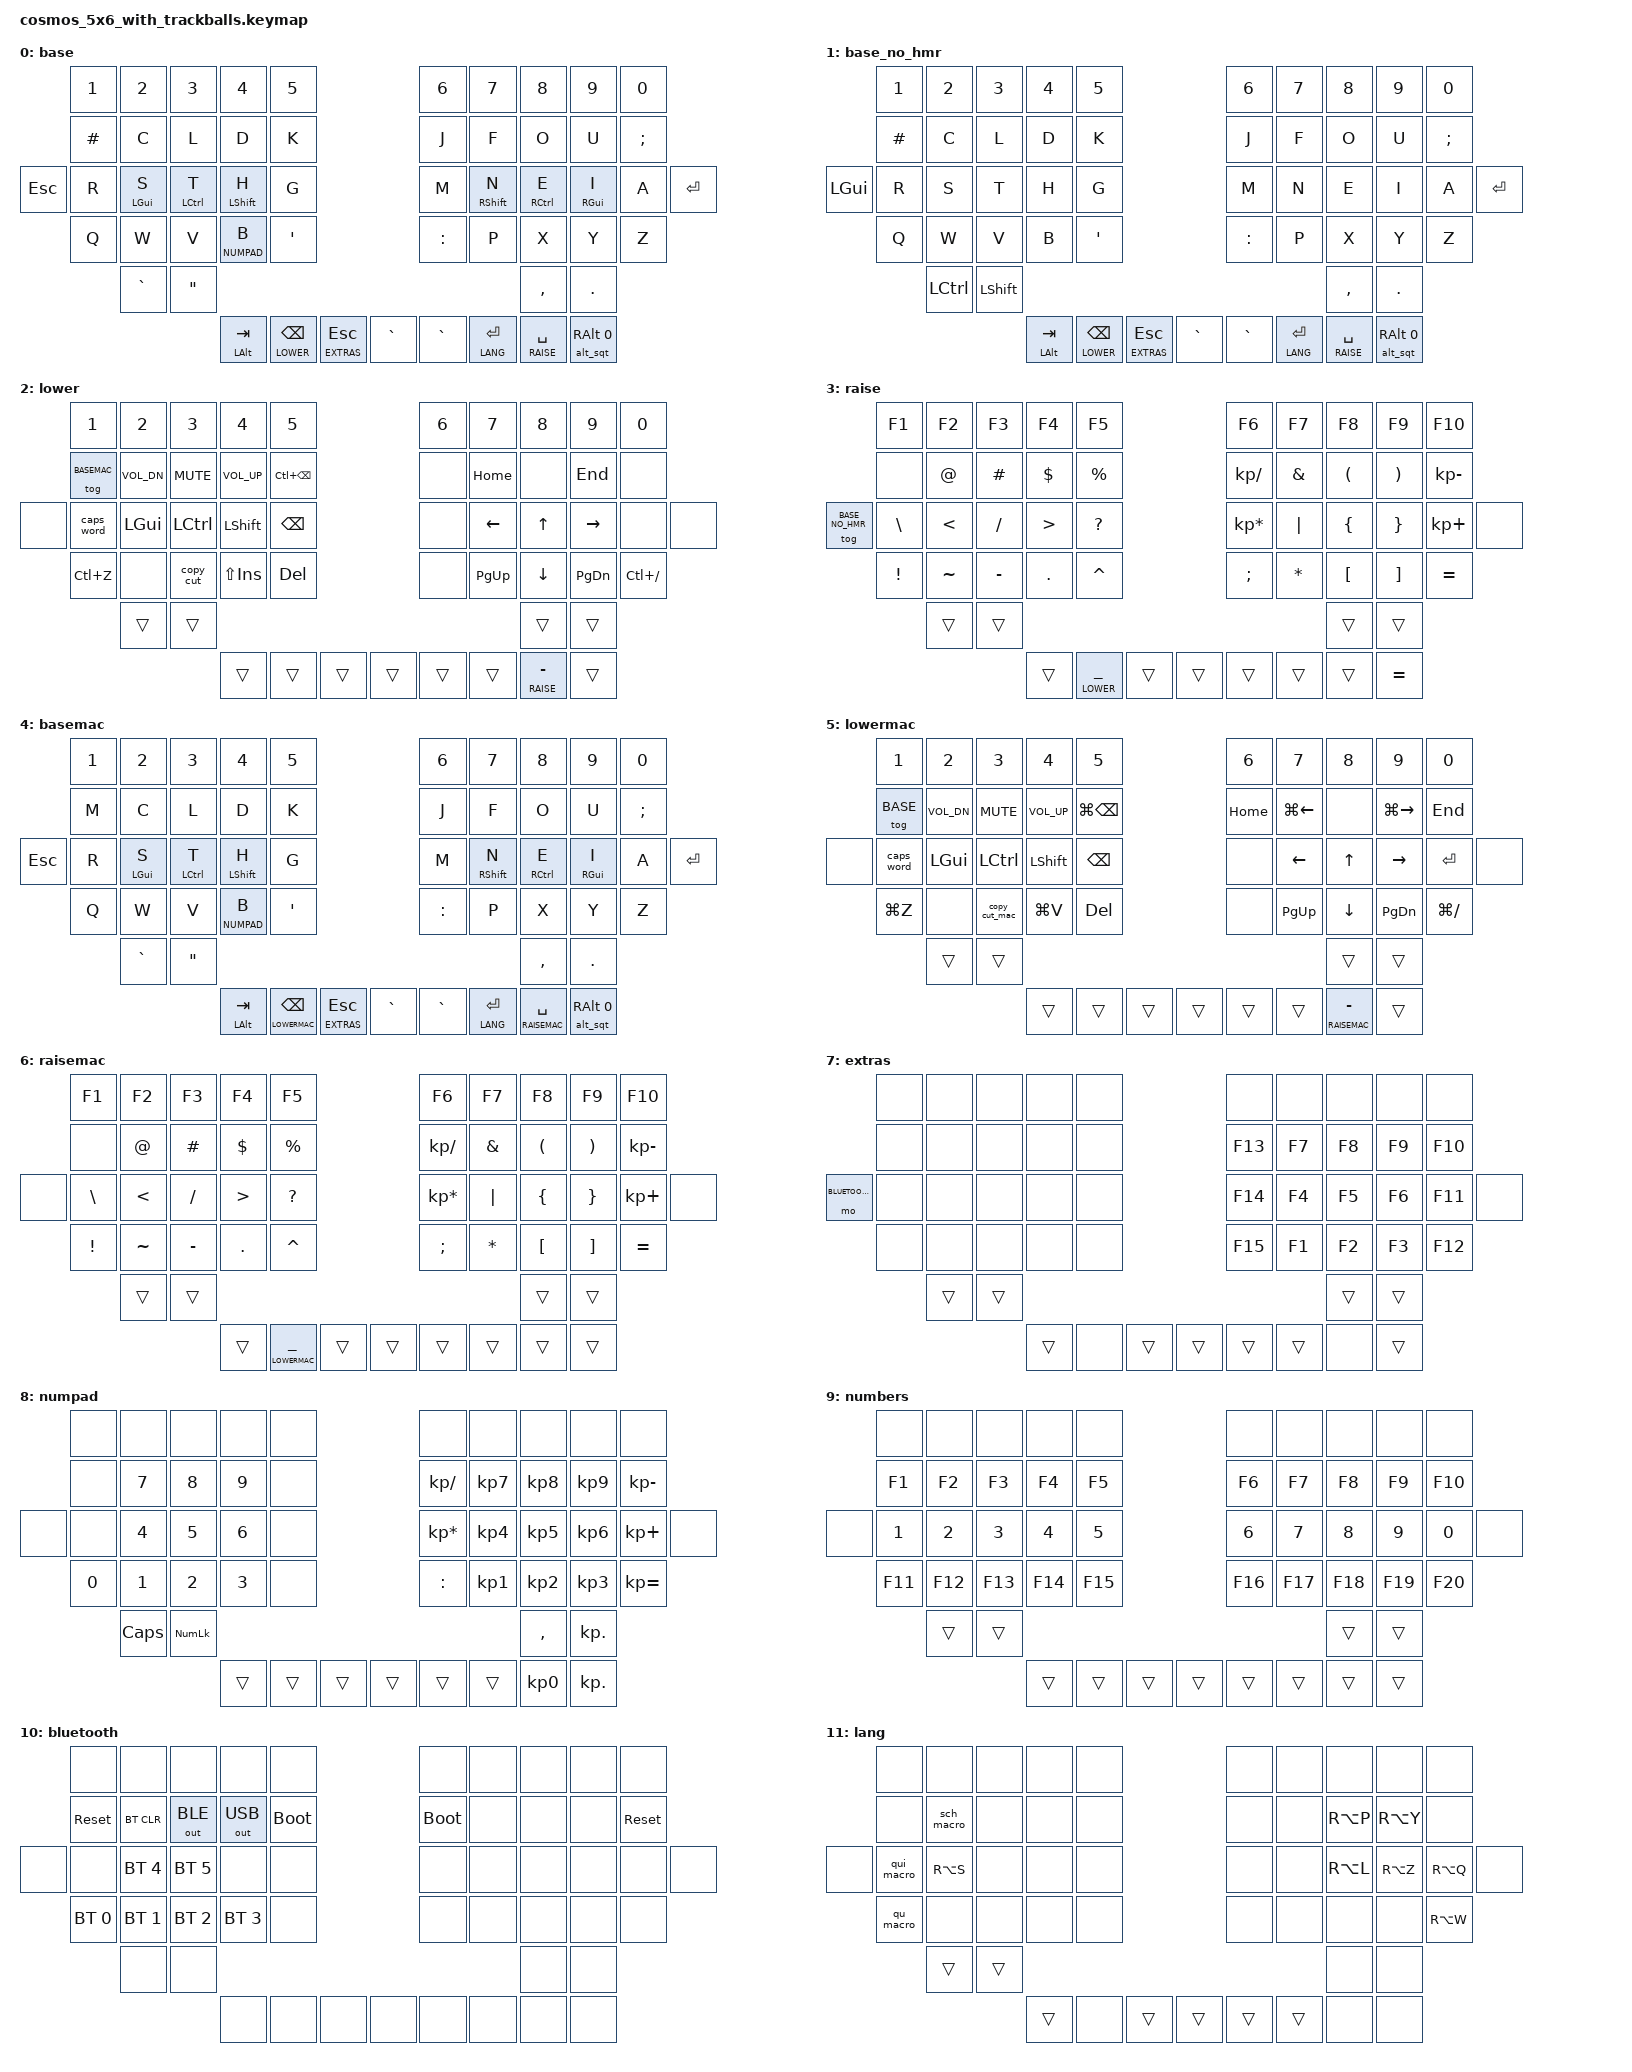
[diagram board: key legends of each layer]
#include <behaviors.dtsi>
#include <dt-bindings/zmk/keys.h>
#include <dt-bindings/zmk/bt.h>
#include <dt-bindings/zmk/outputs.h>
#include "zmk-helpers/helper.h"
#include "keypos_cosmos_5x6_with_trackballs.h"

#define BASE        0
#define BASE_NO_HMR 1
#define LOWER       2
#define RAISE       3
#define BASEMAC     4
#define LOWERMAC    5
#define RAISEMAC    6
#define EXTRAS      7
#define NUMPAD      8
#define NUMBERS     9
#define BLUETOOTH  10
#define LANG       11

// left-hand keys
#define KEYS_L LN4 LN3 LN2 LN1 LN0 LT4 LT3 LT2 LT1 LT0 LM5 LM4 LM3 LM2 LM1 LM0 LB4 LB3 LB2 LB1 LB0 LQ1 LQ0
// right-hand keys
#define KEYS_R RN0 RN1 RN2 RN3 RN4 RT0 RT1 RT2 RT3 RT4 RM0 RM1 RM2 RM3 RM4 RM5 RB0 RB1 RB2 RB3 RB4 RQ1 RQ0
// left-hand thumb keys
#define THUMBS_L LH0 LH1 LH2 LH3 LH4
// right-hand thumb keys
#define THUMBS_R RH0 RH1 RH2 RH3 RH4

/ {
    conditional_layers {
        compatible = "zmk,conditional-layers";
        tri_layer {
            if-layers = <LOWER RAISE>;
            then-layer = <NUMBERS>;
        };
        tri_layer_mac {
            if-layers = <LOWERMAC RAISEMAC>;
            then-layer = <NUMBERS>;
        };
    };
};


#define XXX &none
#define ___ &trans

#undef COMBO_TERM
#define COMBO_TERM 18


// --------------------------------------------
// ------------------ COMBOS ------------------
// --------------------------------------------
// ZMK_COMBO(comboLPar, &kp LPAR, LT3 LT2, BASE BASEMAC)
// ZMK_COMBO(comboRPar, &kp RPAR, RT3 RT2, BASE BASEMAC)

// ZMK_COMBO(comboLBrc, &kp LBRC, LM3 LM2, BASE BASEMAC)
// ZMK_COMBO(comboRBrc, &kp RBRC, RM3 RM2, BASE BASEMAC)

// ZMK_COMBO(comboLBkt, &kp LBKT, LB3 LB2, BASE BASEMAC)
// ZMK_COMBO(comboRBkt, &kp RBKT, RB3 RB2, BASE BASEMAC)

// ZMK_COMBO(comboMinus, &kp MINUS, RT1 RT2, BASE BASEMAC)
// ZMK_COMBO(comboPlus, &kp PLUS, RM1 RM2, BASE BASEMAC)
// ZMK_COMBO(comboEqual, &kp EQUAL, RB1 RB2, BASE BASEMAC)

// ZMK_COMBO(comboExcl, &kp EXCL, LT2 LT1, BASE BASEMAC)
// ZMK_COMBO(comboAt, &kp AT, LM2 LM1, BASE BASEMAC)
// ZMK_COMBO(comboTab, &kp TAB, RQ0 RQ1, BASE BASEMAC)
// -----------------COMBOS--------------------


// #define HRC_TAB    &hml         LS(LALT) TAB
// ZMK_COMBO(tab,   HRC_TAB,       LT3 LT1,     BASE, COMBO_TERM)

// ZMK_COMBO(combo_the, &macro_the, LT3 LT1, 0)
// ZMK_BEHAVIOR(macro_the, macro,
//     wait-ms = <0>;
//     tap-ms = <5>;
//     bindings = <&kp T &kp H &kp E &kp SPACE>;
// )


#define MAKE_HRM(NAME, HOLD, TAP, TRIGGER_POS) \
    ZMK_BEHAVIOR(NAME, hold_tap, \
        flavor = "balanced"; \
        tapping-term-ms = <280>; \
        quick-tap-ms = <150>; \
        bindings = <HOLD>, <TAP>; \
        hold-trigger-key-positions = <TRIGGER_POS>; \
        hold-trigger-on-release; \
        hold-while-undecided; \
    )


//global-quick-tap-ms = <150>;

// left-hand HRMs
MAKE_HRM(hml, &kp, &kp, THUMBS_L THUMBS_R KEYS_R)
// right-hand HRMs
MAKE_HRM(hmr, &kp, &kp, THUMBS_L THUMBS_R KEYS_L)

&lt {
  tapping-term-ms = <280>;
  quick-tap-ms = <280>; // repeat on tap-into-hold
  flavor = "balanced";
};

&mt {
  tapping-term-ms = <280>;
  quick-tap-ms = <280>; // repeat on tap-into-hold
  flavor = "balanced";
};

// long-tap action on hold, short-tap action on all interrupts
// flavor = "tap-preferred";
// #define MT_CORE \
//     flavor = "balanced"; \
//     tapping-term-ms = <220>; \
//     quick-tap-ms = <220>; \
//     hold-trigger-key-positions = <0>;

// &mt { MT_CORE };

// ZMK_BEHAVIOR(mt_home, hold_tap, bindings = <&masked_home>, <&kp>; MT_CORE)
// ZMK_BEHAVIOR(mt_end,  hold_tap,  bindings = <&masked_end>, <&kp>; MT_CORE)

// #define NAV_LEFT  &mt_home 0   LEFT    // tap: left  | long-tap: beginning of line
// #define NAV_RIGHT &mt_end 0    RIGHT   // tap: right | long-tap: end       of line
// #define NAV_UP    &mt LC(HOME) UP      // tap: up    | long-tap: beginning of document
// #define NAV_DOWN  &mt LC(END)  DOWN    // tap: down  | long-tap: end       of document
// #define NAV_BSPC  &mt LC(BSPC) BSPC    // tap: bspc  | long-tap: delete word backward
// #define NAV_DEL   &mt LC(DEL)  DEL     // tap: del   | long-tap: delete word forward

// mask CTRL when holding left/right to avoid accidental jumps to beginning/end of document
#define MASK_MODS(NAME, MODS, BINDING) \
    ZMK_BEHAVIOR(NAME, mod_morph, \
        bindings = <BINDING>, <BINDING>; \
        mods = <MODS>; \
    )
MASK_MODS(masked_home, (MOD_LCTL), &kp HOME)
MASK_MODS(masked_end,  (MOD_LCTL), &kp END)

// grave on shift single qoute
/ {
  behaviors {
    gsqt: grave_escape {
      compatible = "zmk,behavior-mod-morph";
      label = "GRAVE_ESCAPE";
      #binding-cells = <0>;
      bindings = <&kp SQT>, <&kp GRAVE>;
      mods = <(MOD_LSFT|MOD_RSFT)>;
    };
  };
};

// modify &sk to prevent double capital letters
/ {
  behaviors {
    skq: sticky_key_quick_release {
      compatible = "zmk,behavior-sticky-key";
      label = "STICKY_KEY_QUICK_RELEASE";
      #binding-cells = <1>;
      bindings = <&kp>;
      release-after-ms = <5000>;
      quick-release;
    };
  };
  hltr: hold_layer_tap_repeat {
    label = "HOLD_LAYER_TAP_REPEAT";
    #binding-cells = <2>;
    compatible = "zmk,behavior-hold-tap";
    bindings = <&mo>, <&key_repeat>;
    tapping-term-ms = <120>;
    flavor = "tap-preferred";
  };
  // &hthp NUMPAD B --- doesn't work?
  hthp: holdtap_holdpreferred {
      compatible = "zmk,behavior-hold-tap";
      label = "HOLD_TAP_TAP_PREFERRED";
      #binding-cells = <2>;
      // flavor = "hold-preferred";
      flavor = "balanced";
      tapping-term-ms = <200>;
      quick-tap-ms = <0>;
      bindings = <&mo>, <&kp>;
  };
};

// ----------------------------
ZMK_BEHAVIOR(lt_spc, hold_tap,
    flavor = "balanced";
    tapping-term-ms = <200>;
    quick-tap-ms = <175>;
    bindings = <&mo>, <&spc_morph>;
)
ZMK_BEHAVIOR(spc_morph, mod_morph,
    bindings = <&kp SPACE>, <&dot_spc>;
    mods = <(MOD_LSFT|MOD_RSFT)>;
)
ZMK_BEHAVIOR(dot_spc, macro,
    wait-ms = <0>;
    tap-ms = <5>;
    bindings = <&kp DOT &kp SPACE &skq LSHFT>;
)

// ZMK_BEHAVIOR(tmux, macro,
//     wait-ms = <0>;
//     tap-ms = <5>;
//     bindings = <&kp LCTL &kp B>;
// )
// ----------------------------
// ----------------------------
ZMK_BEHAVIOR(alt_dot, hold_tap,
    flavor = "balanced";
    tapping-term-ms = <200>;
    bindings = <&kp>, <&alt_morph>;
    hold-while-undecided;
)
ZMK_BEHAVIOR(alt_morph, mod_morph,
    bindings = <&kp DOT>, <&kp COMMA>;
    mods = <(MOD_LSFT|MOD_RSFT)>;
)
// ----------------------------

// ----------------------------
ZMK_BEHAVIOR(alt_sqt, hold_tap,
    flavor = "balanced";
    tapping-term-ms = <200>;
    // quick-tap-ms = <175>;
    bindings = <&kp>, <&alt_morph_sqt>;
)

ZMK_BEHAVIOR(alt_morph_sqt, mod_morph,
    bindings = <&kp SQT>, <&kp COMMA>;
    // bindings = <&kp DOT>, <&dot_alt>;
    mods = <(MOD_LSFT|MOD_RSFT)>;
)
// ----------------------------

// ----------------------------
ZMK_BEHAVIOR(copy_cut, tap_dance,
    tapping-term-ms = <200>;
    bindings = <&kp LC(INS)>, <&kp LC(X)>;
)

ZMK_BEHAVIOR(copy_cut_mac, tap_dance,
    tapping-term-ms = <200>;
    bindings = <&kp LG(C)>, <&kp LG(X)>;
)

ZMK_BEHAVIOR(dot_comma, tap_dance,
    tapping-term-ms = <200>;
    bindings = <&kp DOT>, <&kp COMMA>;
)

ZMK_BEHAVIOR(sqt_dqt, tap_dance,
    tapping-term-ms = <200>;
    bindings = <&kp SQT>, <&kp DQT>;
)


// ----------------------------
// ZMK_BEHAVIOR(qu, tap_dance,
//     tapping-term-ms = <200>;
//     bindings = <&kp Q>, <&qu_macro>, <&qi_macro>;
// )
ZMK_BEHAVIOR(qu_macro, macro,
    wait-ms = <0>;
    tap-ms = <5>;
    bindings = <&kp Q>, <&kp U>;
)
ZMK_BEHAVIOR(qui_macro, macro,
    wait-ms = <0>;
    tap-ms = <5>;
    bindings = <&kp Q>, <&kp U>, <&kp I>;
)
ZMK_BEHAVIOR(sch_macro, macro,
    wait-ms = <0>;
    tap-ms = <5>;
    bindings = <&kp S>, <&kp C>, <&kp H>;
)



// ----------------------------

// -------------------------------------------------------------------
// Linux
// -------------------------------------------------------------------

// ZMK_LAYER(base,
//             &kp NUMBER_1  &kp NUMBER_2   &kp NUMBER_3    &kp NUMBER_4  &kp NUMBER_5                                      &kp NUMBER_6     &kp NUMBER_7  &kp NUMBER_8  &kp NUMBER_9  &kp NUMBER_0
//             &kp HASH      &kp C          &kp L           &kp D         &kp K                                             &kp J            &kp F         &kp O         &kp U         &kp SEMI
//  &kp DOLLAR &kp R         &hml LGUI S    &hml LCTRL T    &hml LSHIFT H &kp G                                             &kp M            &hmr RSHIFT N &hmr RCTRL E  &hmr RGUI I   &kp A             &kp RETURN
//             &kp Q         &kp W          &kp V           &lt NUMPAD B  &kp SQT                                           &kp COLON        &kp P         &kp X         &kp Y         &kp Z
//                           &kp GRAVE      &kp DQT                                                                                                        &kp COMMA     &kp DOT
//                                                   &mt LALT TAB  &kp BSPC  &kp ESC   &kp GRAVE    &kp GRAVE &kp RET   &kp SPC &alt_dot RALT 0
// )

ZMK_LAYER(base,
            &kp NUMBER_1  &kp NUMBER_2   &kp NUMBER_3    &kp NUMBER_4  &kp NUMBER_5                                      &kp NUMBER_6     &kp NUMBER_7  &kp NUMBER_8  &kp NUMBER_9  &kp NUMBER_0
            &kp HASH      &kp C          &kp L           &kp D         &kp K                                             &kp J            &kp F         &kp O         &kp U         &kp SEMI
 &kp ESC    &kp R         &hml LGUI S    &hml LCTRL T    &hml LSHIFT H &kp G                                             &kp M            &hmr RSHIFT N &hmr RCTRL E  &hmr RGUI I   &kp A             &kp RETURN
            &kp Q         &kp W          &kp V           &lt NUMPAD B  &kp SQT                                           &kp COLON        &kp P         &kp X         &kp Y         &kp Z
                          &kp GRAVE      &kp DQT                                                                                                        &kp COMMA     &kp DOT
                                                  &mt LALT TAB  &lt LOWER BSPC  &lt EXTRAS  ESC   &kp GRAVE    &kp GRAVE &lt LANG RET   &lt RAISE SPC &alt_sqt RALT 0
)

ZMK_LAYER(base_no_hmr,
            &kp NUMBER_1  &kp NUMBER_2   &kp NUMBER_3    &kp NUMBER_4  &kp NUMBER_5                                      &kp NUMBER_6     &kp NUMBER_7  &kp NUMBER_8  &kp NUMBER_9  &kp NUMBER_0
            &kp HASH      &kp C          &kp L           &kp D         &kp K                                             &kp J            &kp F         &kp O         &kp U         &kp SEMI
 &kp LGUI   &kp R         &kp S          &kp T           &kp H         &kp G                                             &kp M            &kp N         &kp E         &kp I         &kp A             &kp RETURN
            &kp Q         &kp W          &kp V           &kp B         &kp SQT                                           &kp COLON        &kp P         &kp X         &kp Y         &kp Z
                          &kp LCTRL      &kp LSHIFT                                                                                                     &kp COMMA     &kp DOT
                                                  &mt LALT TAB  &lt LOWER BSPC  &lt EXTRAS  ESC   &kp GRAVE    &kp GRAVE &lt LANG RET   &lt RAISE SPC &alt_sqt RALT 0
)

// ZMK_LAYER(querty,
//             &kp NUMBER_1  &kp NUMBER_2   &kp NUMBER_3    &kp NUMBER_4  &kp NUMBER_5                                                   &kp NUMBER_6     &kp NUMBER_7  &kp NUMBER_8  &kp NUMBER_9  &kp NUMBER_0
//             &kp Q         &kp W          &kp E           &kp R         &kp T                                                          &kp Y            &kp U         &kp I         &kp O         &kp P
//  &kp LGUI   &kp A         &kp S          &kp D           &kp F         &kp G                                                          &kp H            &kp J         &kp K         &kp K         &kp L     &kp RETURN
//             &kp Z         &kp X          &kp C           &kp V         &kp B                                                          &kp N            &kp N         &kp M         &kp COMMA     &kp DOT
//                           &kp LCTRL      &kp LSHIFT                                                                                                     &kp COMMA     &kp DOT
//                                                          &mt LALT TAB  &lt LOWER BSPC  &lt NUMBERS ESC  &kp GRAVE         &kp GRAVE   &lt LANG RET  &lt RAISE SPC &kp RGUI
// )

ZMK_LAYER(lower,
                &kp NUMBER_1  &kp NUMBER_2  &kp NUMBER_3    &kp NUMBER_4  &kp NUMBER_5                                     &kp NUMBER_6     &kp NUMBER_7  &kp NUMBER_8  &kp NUMBER_9  &kp NUMBER_0
                &tog BASEMAC  &kp K_VOL_DN  &kp K_MUTE      &kp K_VOL_UP  &kp LC(BSPC)                                      XXX              &kp HOME      XXX           &kp END       XXX
 XXX            &caps_word    &kp LGUI      &kp LCTRL       &kp LSHIFT    &kp BSPC                                          XXX              &kp LEFT      &kp UP        &kp RIGHT     XXX            XXX
                &kp LC(Z)     XXX           &copy_cut       &kp LS(INS)   &kp DEL                                           XXX              &kp PG_UP     &kp DOWN      &kp PG_DN     &kp LC(SLASH)
                              ___           ___                                                                                                            ___           ___
                                                            ___           ___         ___    ___                ___    ___        &lt RAISE MINUS         ___
)

ZMK_LAYER(raise,
                    &kp F1        &kp F2        &kp F3        &kp F4        &kp F5                                              &kp F6          &kp F7        &kp F8        &kp F9        &kp F10
                    XXX           &kp AT        &kp HASH      &kp DOLLAR    &kp PERCENT                                         &kp KP_DIVIDE   &kp AMPS      &kp LPAR      &kp RPAR      &kp KP_MINUS
 &tog BASE_NO_HMR   &kp BACKSLASH &kp LT        &kp SLASH     &kp GT        &kp QMARK                                           &kp KP_MULTIPLY &kp PIPE      &kp LBRC      &kp RBRC      &kp KP_PLUS    XXX
                    &kp EXCL      &kp TILDE     &kp MINUS     &kp DOT       &kp CARET                                           &kp SEMI        &kp ASTERISK  &kp LBKT      &kp RBKT      &kp EQUAL
                           ___           ___                                                                                                         ___           ___
                                                      ___    &lt LOWER UNDERSCORE     ___    ___             ___    ___         ___         &kp EQUAL
)

// -------------------------------------------------------------------
// Linux end
// -------------------------------------------------------------------

// -------------------------------------------------------------------
// Mac start
// -------------------------------------------------------------------

ZMK_LAYER(basemac,
            &kp NUMBER_1  &kp NUMBER_2   &kp NUMBER_3    &kp NUMBER_4  &kp NUMBER_5                                                 &kp NUMBER_6     &kp NUMBER_7  &kp NUMBER_8  &kp NUMBER_9  &kp NUMBER_0
            &kp M         &kp C          &kp L           &kp D         &kp K                                                        &kp J            &kp F         &kp O         &kp U         &kp SEMI
 &kp ESC    &kp R         &hml LGUI S    &hml LCTRL T    &hml LSHIFT H &kp G                                                        &kp M            &hmr RSHIFT N &hmr RCTRL E  &hmr RGUI I   &kp A     &kp RETURN
            &kp Q         &kp W          &kp V           &lt NUMPAD B  &kp SQT                                                      &kp COLON        &kp P         &kp X         &kp Y         &kp Z
                          &kp GRAVE      &kp DQT                                                                                                        &kp COMMA     &kp DOT
                                                         &mt LALT TAB  &lt LOWERMAC BSPC  &lt EXTRAS ESC    &kp GRAVE    &kp GRAVE  &lt LANG RET   &lt RAISEMAC SPC &alt_sqt RALT 0

)


ZMK_LAYER(lowermac,
                &kp NUMBER_1  &kp NUMBER_2   &kp NUMBER_3    &kp NUMBER_4  &kp NUMBER_5                                      &kp NUMBER_6     &kp NUMBER_7  &kp NUMBER_8  &kp NUMBER_9  &kp NUMBER_0
                &tog BASE     &kp K_VOL_DN   &kp K_MUTE      &kp K_VOL_UP  &kp LG(BSPC)                                      &kp HOME         &kp LG(LEFT)  XXX           &kp LG(RIGHT) &kp END
 XXX            &caps_word    &kp LGUI       &kp LCTRL       &kp LSHIFT    &kp BSPC                                          XXX              &kp LEFT      &kp UP        &kp RIGHT     &kp RETURN       XXX
                &kp LG(Z)     XXX            &copy_cut_mac   &kp LG(V)     &kp DEL                                           XXX              &kp PG_UP     &kp DOWN      &kp PG_DN     &kp LG(SLASH)
                              ___           ___                                                                                                            ___           ___
                                                            ___           ___         ___    ___                ___    ___        &lt RAISEMAC MINUS         ___
)

ZMK_LAYER(raisemac,
          &kp F1        &kp F2        &kp F3        &kp F4        &kp F5                                              &kp F6          &kp F7        &kp F8        &kp F9        &kp F10
          XXX           &kp AT        &kp HASH      &kp DOLLAR    &kp PERCENT                                         &kp KP_DIVIDE   &kp AMPS      &kp LPAR      &kp RPAR      &kp KP_MINUS
 XXX      &kp BACKSLASH &kp LT        &kp SLASH     &kp GT        &kp QMARK                                           &kp KP_MULTIPLY &kp PIPE      &kp LBRC      &kp RBRC      &kp KP_PLUS    XXX
          &kp EXCL      &kp TILDE     &kp MINUS     &kp DOT       &kp CARET                                           &kp SEMI        &kp ASTERISK  &kp LBKT      &kp RBKT      &kp EQUAL     
                         ___           ___                                                                                                         ___           ___
                                                    ___    &lt LOWERMAC UNDERSCORE     ___   ___              ___    ___         ___         ___
)

// -------------------------------------------------------------------
// Mac end
// -------------------------------------------------------------------



ZMK_LAYER(extras,
                XXX           XXX           XXX           XXX           XXX                                             XXX           XXX           XXX           XXX           XXX
                XXX           XXX           XXX           XXX           XXX                                             &kp F13       &kp F7        &kp F8        &kp F9        &kp F10
  &mo BLUETOOTH XXX           XXX           XXX           XXX           XXX                                             &kp F14       &kp F4        &kp F5        &kp F6        &kp F11       XXX
                XXX           XXX           XXX           XXX           XXX                                             &kp F15       &kp F1        &kp F2        &kp F3        &kp F12
                              ___           ___                                                                                                     ___           ___
                                                            ___         XXX         ___    ___             ___    ___         XXX         ___
)

ZMK_LAYER(numpad,
                XXX           XXX           XXX           XXX           XXX                                             XXX             XXX         XXX         XXX         XXX
                XXX           &kp NUMBER_7  &kp NUMBER_8  &kp NUMBER_9  XXX                                             &kp KP_DIVIDE   &kp KP_N7   &kp KP_N8   &kp KP_N9   &kp KP_MINUS
  XXX           XXX           &kp NUMBER_4  &kp NUMBER_5  &kp NUMBER_6  XXX                                             &kp KP_MULTIPLY &kp KP_N4   &kp KP_N5   &kp KP_N6   &kp KP_PLUS       XXX
                &kp NUMBER_0  &kp NUMBER_1  &kp NUMBER_2  &kp NUMBER_3  XXX                                             &kp COLON       &kp KP_N1   &kp KP_N2   &kp KP_N3   &kp KP_EQUAL
                              &kp CAPSLOCK  &kp KP_NUMLOCK                                                                                          &kp COMMA   &kp KP_DOT
                                                            ___         ___         ___   ___             ___     ___         &kp KP_N0     &kp KP_DOT
)

ZMK_LAYER(numbers,
                XXX           XXX           XXX           XXX           XXX                                             XXX             XXX           XXX          XXX           XXX
                &kp F1        &kp F2        &kp F3        &kp F4        &kp F5                                          &kp F6          &kp F7        &kp F8       &kp F9        &kp F10
  XXX           &kp NUMBER_1  &kp NUMBER_2  &kp NUMBER_3  &kp NUMBER_4  &kp NUMBER_5                                    &kp NUMBER_6    &kp NUMBER_7  &kp NUMBER_8 &kp NUMBER_9  &kp NUMBER_0    XXX
                &kp F11       &kp F12       &kp F13       &kp F14       &kp F15                                         &kp F16         &kp F17       &kp F18      &kp F19       &kp F20
                              ___           ___                                                                                                       ___         ___
                                                            ___         ___         ___   ___                ___   ___         ___           ___
)

ZMK_LAYER(bluetooth,
                XXX           XXX           XXX           XXX           XXX                                             XXX           XXX           XXX           XXX           XXX
                &sys_reset    &bt BT_CLR    &out OUT_BLE  &out OUT_USB  &bootloader                                     &bootloader   XXX           XXX           XXX           &sys_reset
  XXX           XXX           &bt BT_SEL 4  &bt BT_SEL 5  XXX           XXX                                             XXX           XXX           XXX           XXX           XXX           XXX
                &bt BT_SEL 0  &bt BT_SEL 1  &bt BT_SEL 2  &bt BT_SEL 3  XXX                                             XXX           XXX           XXX           XXX           XXX
                              XXX           XXX                                                                                                     XXX           XXX
                                                            XXX         XXX         XXX   XXX              XXX    XXX         XXX         XXX
)

ZMK_LAYER(lang,
                XXX           XXX           XXX           XXX           XXX                                             XXX           XXX           XXX         XXX           XXX
                XXX           &sch_macro    XXX           XXX           XXX                                             XXX           XXX           &kp RA(P)   &kp RA(Y)     XXX
  XXX           &qui_macro    &kp RA(S)     XXX           XXX           XXX                                             XXX           XXX           &kp RA(L)   &kp RA(Z)     &kp RA(Q)     XXX
                &qu_macro     XXX           XXX           XXX           XXX                                             XXX           XXX           XXX         XXX           &kp RA(W)
                              ___           ___                                                                                                     XXX         XXX
                                                            ___         XXX         ___    ___             ___    ___         XXX           XXX
)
